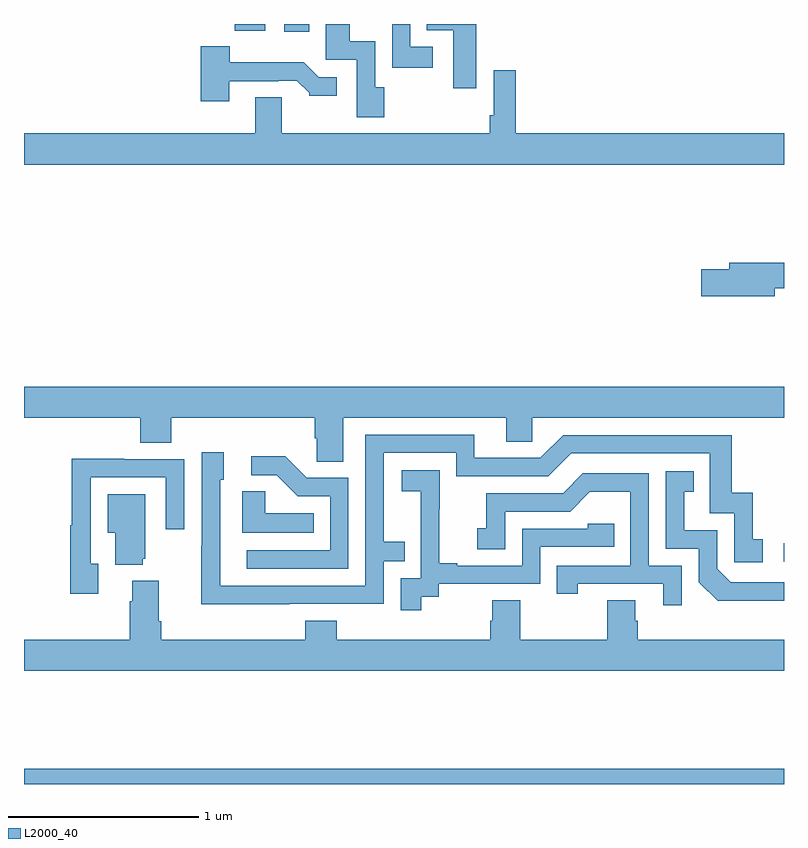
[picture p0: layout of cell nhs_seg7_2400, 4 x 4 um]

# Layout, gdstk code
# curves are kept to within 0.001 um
import gdstk
lib = gdstk.Library(unit=1e-6, precision=1e-09)
def R(c, l, rs):  # rectangles x0, y0, x1, y1
    for r in rs: c.add(gdstk.rectangle(r[:2], r[2:], *l))
def P(c, l, *ps):  # polygons
    for p in ps: c.add(gdstk.Polygon(p, *l))
L2000_40 = (2000, 40)

nhs_seg7_2400 = lib.new_cell('nhs_seg7_2400')
R(nhs_seg7_2400, L2000_40, [(267,1020,271,1020.08), (270.999,1021.17,271,1021.266), (268.37,1023.96,268.501,1024), (268.108,1023.965,268.27,1024)])
P(nhs_seg7_2400, L2000_40, [(269.152,1023.879),(269.034,1023.879),(269.034,1024),(268.938,1024),(268.938,1023.771),(269.152,1023.771)],
  [(268.896,1023.666),(268.848,1023.666),(268.848,1023.91),(268.714,1023.91),(268.714,1024),(268.589,1024),(268.589,1023.813),(268.752,1023.813),(268.752,1023.51),(268.896,1023.51)],
  [(269.38,1024),(269.119,1024),(269.119,1023.968),(269.258,1023.968),(269.258,1023.663),(269.38,1023.663)],
  [(268.081,1023.699),(268.337,1023.699),(268.337,1023.702),(268.436,1023.702),(268.5,1023.638),(268.5,1023.623),(268.645,1023.623),(268.645,1023.72),(268.551,1023.72),(268.473,1023.799),(268.084,1023.799),(268.084,1023.883),(267.929,1023.883),(267.929,1023.594),(268.081,1023.594)],
  [(271,1023.424),(269.588,1023.424),(269.588,1023.757),(269.472,1023.757),(269.472,1023.52),(269.452,1023.52),(269.452,1023.424),(268.357,1023.424),(268.357,1023.614),(268.217,1023.614),(268.217,1023.424),(267,1023.424),(267,1023.26),(271,1023.26)],
  [(270.952,1022.608),(271,1022.608),(271,1022.744),(270.713,1022.744),(270.713,1022.708),(270.564,1022.708),(270.564,1022.566),(270.952,1022.566)],
  [(268.681,1021.928),(269.537,1021.928),(269.537,1021.801),(269.676,1021.801),(269.676,1021.928),(271,1021.928),(271,1022.092),(267,1022.092),(267,1021.928),(267.611,1021.928),(267.611,1021.795),(267.776,1021.795),(267.776,1021.928),(268.529,1021.928),(268.529,1021.819),(268.542,1021.819),(268.542,1021.696),(268.681,1021.696)],
  [(268.397,1020.948),(268.893,1020.948),(268.893,1021.173),(269.003,1021.173),(269.003,1021.274),(268.893,1021.274),(268.893,1021.743),(269.274,1021.743),(269.274,1021.62),(269.76,1021.62),(269.88,1021.74),(270.609,1021.74),(270.609,1021.425),(270.738,1021.425),(270.738,1021.167),(270.889,1021.167),(270.889,1021.287),(270.836,1021.287),(270.836,1021.534),(270.725,1021.534),(270.725,1021.836),(269.838,1021.836),(269.718,1021.716),(269.371,1021.716),(269.371,1021.839),(268.797,1021.839),(268.797,1021.044),(268.032,1021.044),(268.032,1021.602),(268.051,1021.602),(268.051,1021.747),(267.936,1021.747),(267.936,1021.253),(267.934,1021.253),(267.934,1020.947)],
  [(268.707,1021.611),(268.488,1021.611),(268.375,1021.724),(268.197,1021.724),(268.197,1021.626),(268.331,1021.626),(268.442,1021.515),(268.611,1021.515),(268.611,1021.23),(268.173,1021.23),(268.173,1021.134),(268.707,1021.134)],
  [(267.391,1021.158),(267.351,1021.158),(267.351,1021.614),(267.747,1021.614),(267.747,1021.341),(267.843,1021.341),(267.843,1021.71),(267.527,1021.71),(267.527,1021.712),(267.25,1021.712),(267.25,1021.361),(267.243,1021.361),(267.243,1021.002),(267.391,1021.002)],
  [(269.092,1020.985),(269.184,1020.985),(269.184,1021.053),(269.718,1021.053),(269.718,1021.248),(270.107,1021.248),(270.107,1021.371),(269.967,1021.371),(269.967,1021.344),(269.622,1021.344),(269.622,1021.149),(269.281,1021.149),(269.281,1021.162),(269.186,1021.162),(269.186,1021.445),(269.187,1021.445),(269.187,1021.651),(268.989,1021.651),(268.989,1021.541),(269.087,1021.541),(269.087,1021.313),(269.088,1021.313),(269.088,1021.083),(268.983,1021.083),(268.983,1020.915),(269.092,1020.915)],
  [(271,1021.062),(270.72,1021.062),(270.648,1021.134),(270.648,1021.335),(270.475,1021.335),(270.475,1021.539),(270.524,1021.539),(270.524,1021.645),(270.378,1021.645),(270.378,1021.239),(270.552,1021.239),(270.552,1021.062),(270.65,1020.965),(271,1020.965)],
  [(270.462,1021.149),(270.288,1021.149),(270.288,1021.635),(269.942,1021.635),(269.837,1021.53),(269.434,1021.53),(269.434,1021.345),(269.385,1021.345),(269.385,1021.236),(269.532,1021.236),(269.532,1021.434),(269.874,1021.434),(269.978,1021.538),(270.192,1021.538),(270.192,1021.149),(269.803,1021.149),(269.803,1021.002),(269.914,1021.002),(269.914,1021.053),(270.365,1021.053),(270.365,1020.942),(270.462,1020.942)],
  [(268.526,1021.426),(268.269,1021.426),(268.269,1021.541),(268.148,1021.541),(268.148,1021.322),(268.526,1021.322)],
  [(267.626,1021.185),(267.637,1021.185),(267.637,1021.525),(267.44,1021.525),(267.44,1021.322),(267.479,1021.322),(267.479,1021.154),(267.626,1021.154)],
  [(271,1020.76),(270.23,1020.76),(270.23,1020.858),(270.217,1020.858),(270.217,1020.968),(270.07,1020.968),(270.07,1020.76),(269.613,1020.76),(269.613,1020.968),(269.465,1020.968),(269.465,1020.858),(269.453,1020.858),(269.453,1020.76),(268.646,1020.76),(268.646,1020.859),(268.481,1020.859),(268.481,1020.76),(267.722,1020.76),(267.722,1020.856),(267.709,1020.856),(267.709,1021.069),(267.569,1021.069),(267.569,1020.962),(267.557,1020.962),(267.557,1020.76),(267,1020.76),(267,1020.596),(271,1020.596)])

lib.write_gds('nhs_seg7_2400.gds')
